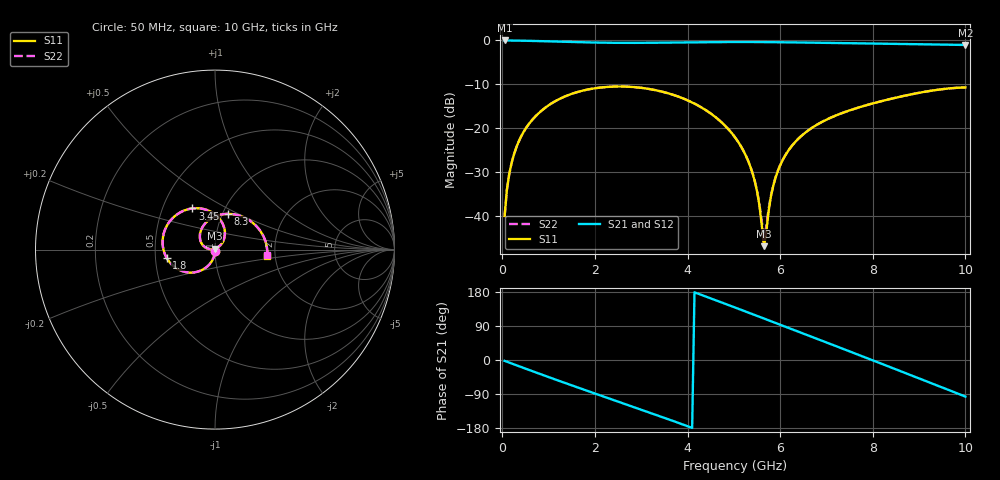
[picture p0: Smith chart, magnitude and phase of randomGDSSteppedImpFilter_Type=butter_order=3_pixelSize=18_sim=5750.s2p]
! freq	dB(S11)	phase(S11)	dB(S12)	phase(S12)
!  dB(S21)	phase(S21)	dB(S22)	phase(S22)
!S-par simulation data
#  GHz  S  DB  R 50
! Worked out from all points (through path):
!   200 points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, 50 MHz to 10 GHz, reference 50 ohm
!   highest |S21| = 0.00 dB at 50 MHz (marker M1); lowest = -1.0 dB at 10 GHz (marker M2)
!   group delay of S21, straight-line fit = 126 ps
!   lowest |S11| = -46.7 dB at 5.65 GHz (marker M3), VSWR 1.01, Z = 50 + j0.458 ohm
!   |S11| at or under -10 dB: start of sweep to end of sweep
!   |S22| runs from -44.6 to -10.5 dB; largest |S21 - S12| = 0
!   S11 on the Smith chart (normalised r, x): 50 MHz: 1.00, -0.02; 1.8 GHz: 0.57, -0.06; 3.45 GHz: 0.70, +0.35; 8.3 GHz: 1.06, +0.44; 10 GHz: 1.81, -0.13
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0.05  -39.89 -92.1  -0.00 -2.3  -0.00 -2.3  -39.89 -92.1
0.1  -33.87 -94.6  -0.01 -4.6  -0.01 -4.6  -33.87 -94.5
0.2  -27.88 -99.3  -0.02 -9.2  -0.02 -9.2  -27.88 -99.3
0.5  -20.11 -113.4  -0.07 -22.7  -0.07 -22.7  -20.11 -113.4
1.75  -11.37 -168.5  -0.42 -77.7  -0.42 -77.7  -11.37 -168.4
1.8  -11.25 -170.6  -0.43 -79.8  -0.43 -79.8  -11.25 -170.5
2.6  -10.47 155.3  -0.55 -113.8  -0.55 -113.8  -10.47 155.5
3.4  -11.51 121.0  -0.51 -148.2  -0.51 -148.2  -11.51 121.3
3.45  -11.64 118.9  -0.50 -150.4  -0.50 -150.4  -11.64 119.1
4.25  -14.92 83.6  -0.40 174.1  -0.40 174.1  -14.92 84.0
5.05  -22.38 48.6  -0.35 137.4  -0.35 137.4  -22.37 49.6
5.45  -31.91 36.6  -0.36 118.8  -0.36 118.8  -31.83 39.6
5.55  -37.32 40.9  -0.36 114.2  -0.36 114.2  -37.05 46.2
5.65  -46.75 94.5  -0.37 109.5  -0.37 109.5  -44.63 97.9
5.8  -35.51 174.4  -0.39 102.5  -0.39 102.5  -35.28 170.3
6  -28.38 173.6  -0.41 93.2  -0.41 93.2  -28.33 171.9
6.7  -19.77 144.5  -0.50 60.4  -0.50 60.4  -19.76 144.1
7.55  -15.72 105.0  -0.63 20.4  -0.63 20.4  -15.71 105.0
8.3  -13.50 70.2  -0.75 -15.2  -0.75 -15.2  -13.50 70.4
8.35  -13.37 67.9  -0.76 -17.5  -0.76 -17.5  -13.37 68.2
9.25  -11.44 27.0  -0.93 -60.5  -0.93 -60.5  -11.44 27.5
10  -10.68 -6.5  -1.03 -96.6  -1.03 -96.6  -10.67 -5.8
